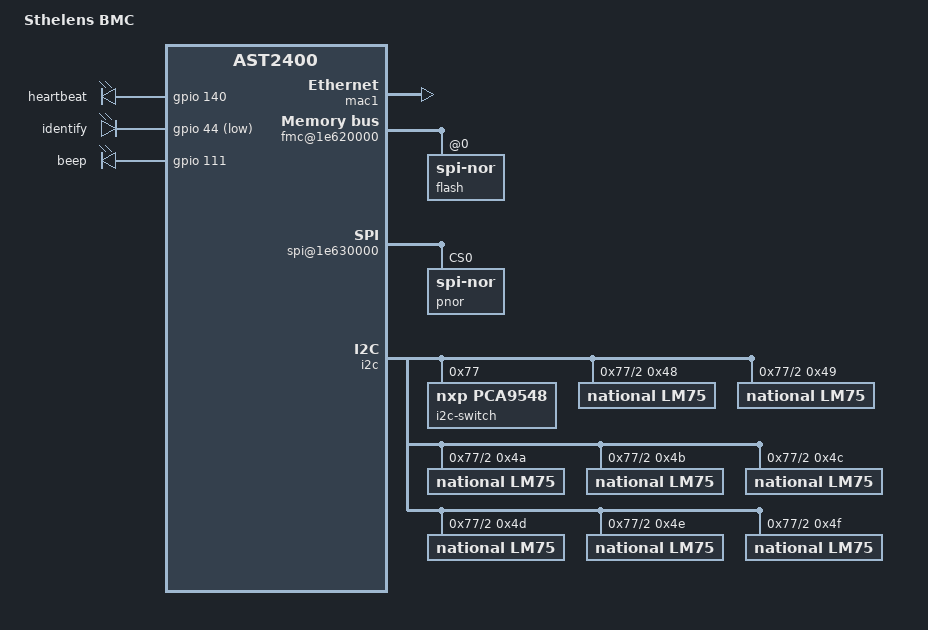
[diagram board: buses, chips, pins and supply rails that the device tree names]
/dts-v1/;

#include "ast2400.dtsi"
#include <dt-bindings/gpio/gpio.h>

/ {
	model = "Sthelens BMC";
	compatible = "ms,sthelens-bmc", "aspeed,ast2400";
	ahb {
		mac0: ethernet@1e660000 {
		        compatible = "faraday,ftgmac100", "aspeed,ast2400-mac";
		        reg = <0x1e660000 0x180>;
		        interrupts = <2>;
		        no-hw-checksum;
		        status = "disabled";
		};

		mac1: ethernet@1e680000 {
		        compatible = "faraday,ftgmac100", "aspeed,ast2400-mac";
		        reg = <0x1e680000 0x180>;
		        no-hw-checksum;
		        interrupts = <3>;
		};

		fmc@1e620000 {
			reg = < 0x1e620000 0x94
				0x20000000 0x02000000 >;
			#address-cells = <1>;
			#size-cells = <0>;
			compatible = "aspeed,fmc";
			flash@0 {
				reg = < 0 >;
				compatible = "jedec,spi-nor" ;
				/*
				 * Possibly required props:
				 * spi-max-frequency = <>
				 * spi-tx-bus-width = <>
				 * spi-rx-bus-width  = <>
				 * m25p,fast-read
				 * spi-cpol if inverse clock polarity (CPOL)
				 * spi-cpha if shifted clock phase (CPHA)
				 */
#include "aspeed-bmc-opp-flash-layout.dtsi"
			};
		};
		spi@1e630000 {
			reg = < 0x1e630000 0x18
				0x30000000 0x02000000 >;
			#address-cells = <1>;
			#size-cells = <0>;
			compatible = "aspeed,smc";
			flash {
				reg = < 0 >;
				compatible = "jedec,spi-nor" ;
				label = "pnor";
				/* spi-max-frequency = <>; */
				/* m25p,fast-read; */
			};
		};
		apb {
			i2c: i2c@1e78a040 {
				i2c2: i2c-bus@c0 {
					i2c-switch@77 {
							compatible = "nxp,pca9548";
							reg = <0x77>;
                			i2c@0 {
                        			reg = <0x02>;
                        			lm75@48 {
                                			compatible = "national,lm75";
                                			reg = <0x48>;
                        			};
                                    lm75@49 {
                                            compatible = "national,lm75";
                                            reg = <0x49>;
                                    };
                                    lm75@4a {
                                            compatible = "national,lm75";
                                            reg = <0x4a>;
                                    };
                                    lm75@4b {
                                            compatible = "national,lm75";
                                            reg = <0x4b>;
                                    };
                                    lm75@4c {
                                            compatible = "national,lm75";
                                            reg = <0x4c>;
                                    };
                                    lm75@4d {
                                            compatible = "national,lm75";
                                            reg = <0x4d>;
                                    };
                                    lm75@4e {
                                            compatible = "national,lm75";
                                            reg = <0x4e>;
                                    };
                                    lm75@4f {
                                            compatible = "national,lm75";
                                            reg = <0x4f>;
                                    };
                			};
                			i2c@1 {
                        			#address-cells = <1>;
                        			#size-cells = <0>;
                        			reg = <0x01>;

							/* PCAL9538 */
                			};

                			i2c@3 {
                        			#address-cells = <1>;
                        			#size-cells = <0>;
                        			reg = <0x3>;

							/* PCAL9538 x 3 */
                			};
        				};
				};
			};
		};
	};


	leds {
		compatible = "gpio-leds";

		heartbeat {
			gpios = <&gpio 140 GPIO_ACTIVE_HIGH>;
			default-state = "keep";
		};
		identify {
			gpios = <&gpio 44 GPIO_ACTIVE_LOW>;
			default-state = "keep";
		};
		beep {
			gpios = <&gpio 111 GPIO_ACTIVE_HIGH>;
			default-state = "keep";
		};
	};
};

